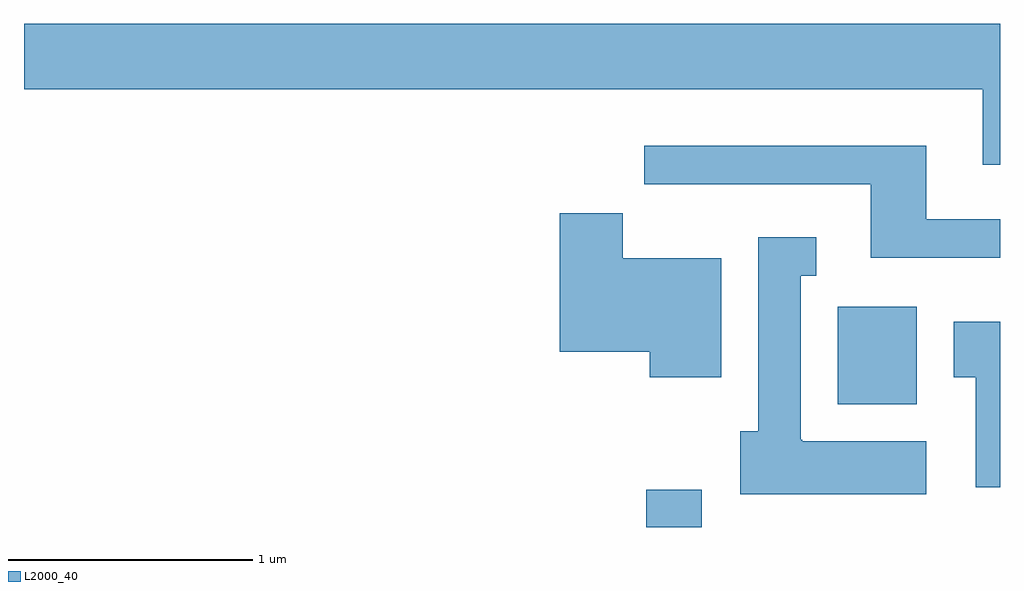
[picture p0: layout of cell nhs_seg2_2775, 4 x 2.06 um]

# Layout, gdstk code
import gdstk
lib = gdstk.Library(unit=1e-6, precision=1e-09)
def R(c, l, rs):  # rectangles x0, y0, x1, y1
    for r in rs: c.add(gdstk.rectangle(r[:2], r[2:], *l))
def P(c, l, *ps):  # polygons
    for p in ps: c.add(gdstk.Polygon(p, *l))
L2000_40 = (2000, 40)

nhs_seg2_2775 = lib.new_cell('nhs_seg2_2775')
R(nhs_seg2_2775, L2000_40, [(268.161,1099.802,268.389,1099.954), (268.946,1100.306,269.269,1100.704)])
P(nhs_seg2_2775, L2000_40, [(269.611,1101.864),(265.611,1101.864),(265.611,1101.596),(269.541,1101.596),(269.541,1101.286),(269.611,1101.286)],
  [(269.611,1101.064),(269.309,1101.064),(269.309,1101.364),(268.153,1101.364),(268.153,1101.206),(269.081,1101.206),(269.081,1100.906),(269.611,1100.906)],
  [(268.469,1100.904),(268.064,1100.904),(268.064,1101.089),(267.806,1101.089),(267.806,1100.521),(268.176,1100.521),(268.176,1100.416),(268.469,1100.416)],
  [(269.309,1100.154),(268.8,1100.154),(268.8,1100.16),(268.794,1100.16),(268.794,1100.831),(268.858,1100.831),(268.858,1100.989),(268.621,1100.989),(268.621,1100.194),(268.546,1100.194),(268.546,1099.936),(269.309,1099.936)],
  [(269.611,1100.644),(269.421,1100.644),(269.421,1100.416),(269.511,1100.416),(269.511,1099.966),(269.611,1099.966)])

lib.write_gds('nhs_seg2_2775.gds')
